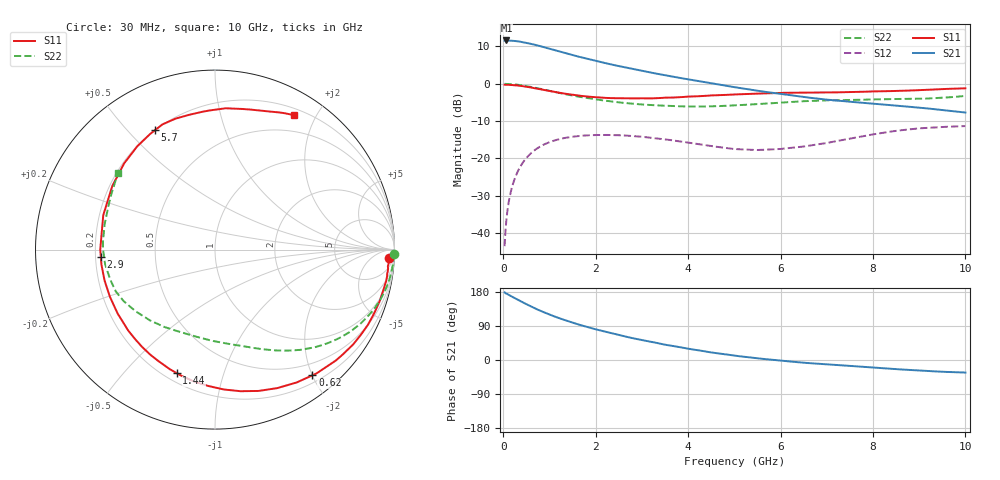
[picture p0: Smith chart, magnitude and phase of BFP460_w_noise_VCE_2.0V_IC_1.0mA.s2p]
! (c) 2016  Infineon Technologies AG, Munich
! Infineon Technologies  Discrete & RF Semiconductors
! BFP460
! VCE =  2.0 V,  IC =  1.0 mA
! Common Emitter S-Parameters:  Jan 2016
# GHz  S  MA  R  50
!  f  S11  S21  S12  S22
! GHz  MAG  ANG  MAG  ANG  MAG  ANG  MAG  ANG
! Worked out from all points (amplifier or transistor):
!   229 points, 30 MHz to 10 GHz, reference 50 ohm
!   highest |S21| = 11.6 dB at 70 MHz (marker M1)
!   |S21| within 3 dB of that: start of sweep to 1.231 GHz
!   unconditionally stable (mu >= 1): 4.332 GHz to 8.422 GHz
!   at 280 MHz: K = 0.07, MSG = 17.9 dB, |S12| = -24.4 dB
!   at 1.78 GHz: K = 0.41, MSG = 10.3 dB, |S12| = -13.8 dB
!   at 10 GHz: K = 0.98, MSG = 1.8 dB, |S12| = -11.3 dB
!   lowest NFmin = 0.69 dB at 450 MHz
!   S11 on the Smith chart (normalised r, x): 30 MHz: 20, -31; 620 MHz: 0.31, -2.00; 1.44 GHz: 0.25, -0.71; 2.9 GHz: 0.22, -0.03; 5.7 GHz: 0.20, +0.60; 10 GHz: 0.28, +1.72
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0.03  0.9716 -2.6  3.789 178.4  0.0067 87.9  0.9972 -1.5
0.07  0.9702 -6.3  3.799 174.9  0.0154 86.1  0.9962 -3.4
0.14  0.9667 -12.3  3.786 170.6  0.0308 82.0  0.9916 -6.8
0.26  0.9538 -22.7  3.732 162.6  0.056 75.2  0.9782 -12.5
0.44  0.9248 -37.8  3.587 151.0  0.0909 65.6  0.9453 -20.7
0.62  0.8861 -52.2  3.398 140.2  0.1204 56.6  0.9029 -28.0
0.8  0.8461 -65.8  3.187 130.0  0.1447 48.6  0.8562 -34.7
1  0.8016 -79.8  2.952 120.0  0.1655 40.7  0.8044 -41.2
1.2  0.7608 -92.8  2.725 110.8  0.1807 33.7  0.757 -46.8
1.44  0.7206 -107.2  2.477 100.9  0.1931 26.5  0.7065 -52.7
1.7  0.6874 -121.7  2.25 91.2  0.2017 19.7  0.6616 -58.2
2  0.6612 -137.0  2.026 81.0  0.206 13.0  0.6184 -64.0
2.24  0.6463 -148.5  1.871 73.6  0.2065 8.3  0.5902 -68.3
2.6  0.6389 -164.4  1.674 63.0  0.2036 2.2  0.5554 -74.9
2.9  0.6374 -176.3  1.535 55.1  0.1977 -2.2  0.5346 -80.5
3.4  0.6445 166.2  1.335 43.1  0.1834 -7.6  0.5112 -89.9
4.1  0.6758 145.8  1.119 27.8  0.1598 -11.1  0.4954 -104.1
5.1  0.7228 125.4  0.881 10.1  0.1328 -5.1  0.5179 -125.0
5.7  0.7446 116.7  0.775 2.0  0.1313 2.9  0.5433 -136.4
6.8  0.7627 103.1  0.633 -9.7  0.1544 14.5  0.5928 -154.5
8.4  0.7983 78.9  0.516 -23.3  0.2298 13.0  0.6237 180.0
10  0.8692 59.5  0.412 -33.1  0.2714 0.2  0.688 141.8
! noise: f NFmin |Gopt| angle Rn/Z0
0.45  0.69  0.73  19  0.45
0.9  0.78  0.68  41  0.42
1.9  1.48  0.47  96  0.28
3.5  2.5  0.41  -173  0.14
